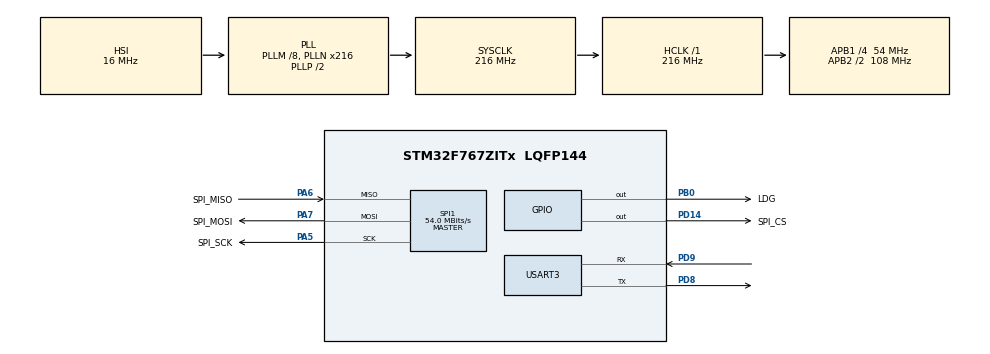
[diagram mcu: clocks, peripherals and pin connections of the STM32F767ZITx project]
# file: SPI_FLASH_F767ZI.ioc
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Mcu.Family=STM32F7
NVIC.USART3_IRQn=true\:0\:0\:false\:false\:true\:true\:true
PA6.Mode=Full_Duplex_Master
Dma.SPI1_TX.0.MemInc=DMA_MINC_ENABLE
Dma.SPI1_TX.0.PeriphInc=DMA_PINC_DISABLE
RCC.CortexFreq_Value=216000000
Dma.SPI1_RX.1.Mode=DMA_NORMAL
Dma.SPI1_RX.1.FIFOMode=DMA_FIFOMODE_DISABLE
SPI1.VirtualType=VM_MASTER
CRC.InputDataFormat=CRC_INPUTDATA_FORMAT_BYTES
PB0.GPIO_Label=LDG
PA6.GPIO_Label=SPI_MISO
PD9.Mode=Asynchronous
Dma.USART3_RX.3.Mode=DMA_NORMAL
RCC.SYSCLKSource=RCC_SYSCLKSOURCE_PLLCLK
ProjectManager.StackSize=0x400
Dma.USART3_TX.2.Priority=DMA_PRIORITY_LOW
Dma.USART3_RX.3.MemDataAlignment=DMA_MDATAALIGN_BYTE
USART3.VirtualMode-Asynchronous=VM_ASYNC
PD14.GPIO_Speed=GPIO_SPEED_FREQ_HIGH
SPI1.CLKPolarity=SPI_POLARITY_HIGH
Dma.USART3_RX.3.PeriphDataAlignment=DMA_PDATAALIGN_BYTE
Dma.SPI1_RX.1.PeriphInc=DMA_PINC_DISABLE
SPI1.Direction=SPI_DIRECTION_2LINES
RCC.HCLKFreq_Value=216000000
RCC.APB2TimFreq_Value=216000000
SPI1.CalculateBaudRate=54.0 MBits/s
PD8.Signal=USART3_TX
NVIC.DMA2_Stream0_IRQn=true\:0\:0\:false\:false\:true\:false\:true
Dma.USART3_TX.2.Mode=DMA_NORMAL
RCC.AHBFreq_Value=216000000
RCC.HSE_VALUE=25000000
Dma.SPI1_RX.1.Priority=DMA_PRIORITY_LOW
Dma.USART3_RX.3.Instance=DMA1_Stream1
SPI1.DataSize=SPI_DATASIZE_8BIT
Dma.USART3_RX.3.PeriphInc=DMA_PINC_DISABLE
PD14.GPIO_PuPd=GPIO_PULLUP
Dma.SPI1_RX.1.Direction=DMA_PERIPH_TO_MEMORY
Dma.SPI1_TX.0.Mode=DMA_NORMAL
Mcu.Package=LQFP144
PA6.Signal=SPI1_MISO
Dma.USART3_RX.3.MemInc=DMA_MINC_ENABLE
RCC.APB2CLKDivider=RCC_HCLK_DIV2
Dma.Request2=USART3_TX
Dma.Request1=SPI1_RX
RCC.APB1TimFreq_Value=108000000
Dma.Request3=USART3_RX
Dma.Request0=SPI1_TX
SPI1.BaudRatePrescaler=SPI_BAUDRATEPRESCALER_2
Dma.SPI1_RX.1.MemInc=DMA_MINC_ENABLE
PA5.Mode=Full_Duplex_Master
Dma.SPI1_RX.1.Instance=DMA2_Stream0
Dma.USART3_RX.3.Direction=DMA_PERIPH_TO_MEMORY
Dma.USART3_TX.2.PeriphDataAlignment=DMA_PDATAALIGN_BYTE
PA7.Mode=Full_Duplex_Master
Dma.USART3_TX.2.MemInc=DMA_MINC_ENABLE
Dma.SPI1_RX.1.MemDataAlignment=DMA_MDATAALIGN_BYTE
PD9.Signal=USART3_RX
SPI1.CLKPhase=SPI_PHASE_2EDGE
NVIC.DMA1_Stream1_IRQn=true\:0\:0\:false\:false\:true\:false\:true
VP_RNG_VS_RNG.Mode=RNG_Activate
RCC.APB1CLKDivider=RCC_HCLK_DIV4
Dma.USART3_TX.2.PeriphInc=DMA_PINC_DISABLE
Dma.SPI1_TX.0.FIFOMode=DMA_FIFOMODE_DISABLE
CRC.InputDataInversionMode=CRC_INPUTDATA_INVERSION_BYTE
ProjectManager.TargetToolchain=STM32CubeIDE
Dma.SPI1_TX.0.PeriphDataAlignment=DMA_PDATAALIGN_BYTE
Dma.SPI1_TX.0.Direction=DMA_MEMORY_TO_PERIPH
Dma.USART3_RX.3.FIFOMode=DMA_FIFOMODE_DISABLE
Dma.USART3_TX.2.Direction=DMA_MEMORY_TO_PERIPH
RCC.USBFreq_Value=48000000
NVIC.DMA2_Stream3_IRQn=true\:0\:0\:false\:false\:true\:false\:true
RCC.LSE_VALUE=32768
PD8.Mode=Asynchronous
PA5.Signal=SPI1_SCK
PD14.PinState=GPIO_PIN_SET
board=custom
RCC.VCOOutputFreq_Value=432000000
Dma.USART3_TX.2.MemDataAlignment=DMA_MDATAALIGN_BYTE
NVIC.SPI1_IRQn=true\:0\:0\:false\:false\:true\:true\:true
RCC.APB2Freq_Value=108000000
SPI1.CRCCalculation=SPI_CRCCALCULATION_DISABLE
SPI1.Mode=SPI_MODE_MASTER
Dma.SPI1_TX.0.Instance=DMA2_Stream3
PD14.GPIO_Label=SPI_CS
CRC.OutputDataInversionMode=CRC_OUTPUTDATA_INVERSION_ENABLE
Mcu.Name=STM32F767ZITx
PD14.Signal=GPIO_Output
Dma.SPI1_RX.1.PeriphDataAlignment=DMA_PDATAALIGN_BYTE
RCC.SYSCLKFreq_VALUE=216000000
PA7.GPIO_Label=SPI_MOSI
PA5.GPIO_Label=SPI_SCK
Dma.USART3_TX.2.FIFOMode=DMA_FIFOMODE_DISABLE
ProjectManager.HeapSize=0x200
Dma.SPI1_TX.0.Priority=DMA_PRIORITY_LOW
Dma.SPI1_TX.0.MemDataAlignment=DMA_MDATAALIGN_BYTE
RCC.HSI_VALUE=16000000
RCC.PLLQ=9
Dma.USART3_TX.2.Instance=DMA1_Stream3
NVIC.PriorityGroup=NVIC_PRIORITYGROUP_4
RCC.PLLM=8
RCC.PLLN=216
Dma.USART3_RX.3.Priority=DMA_PRIORITY_LOW
NVIC.DMA1_Stream3_IRQn=true\:0\:0\:false\:false\:true\:false\:true
RCC.APB1Freq_Value=54000000
VP_CRC_VS_CRC.Mode=CRC_Activate
PB0.Signal=GPIO_Output
PA7.Signal=SPI1_MOSI

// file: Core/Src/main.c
/* USER CODE BEGIN Header */
/**
 ******************************************************************************
 * @file           : main.c
 * @brief          : Main program body
 ******************************************************************************
 * @attention
 *
 * <h2><center>&copy; Copyright (c) 2021 STMicroelectronics.
 * All rights reserved.</center></h2>
 *
 * This software component is licensed by ST under BSD 3-Clause license,
 * the "License"; You may not use this file except in compliance with the
 * License. You may obtain a copy of the License at:
 *                        opensource.org/licenses/BSD-3-Clause
 *
 ******************************************************************************
 */
/* USER CODE END Header */
#include "main.h"

/* USER CODE BEGIN Includes */
#include <ctype.h>

#include "stdio.h"
#include "uart.h"
#include "flash.h"

#include "lfs_interface.h"
#include "lfs.h"
/* USER CODE END Includes */

/* USER CODE BEGIN PD */
#define USE_IO_PUTCHAR 0
#if USE_IO_PUTCHAR
#ifdef __GNUC__//retarget printf to uart3
#define PUTCHAR_PROTOTYPE int __io_putchar(int ch)
#else
#define PUTCHAR_PROTOTYPE int fputc(int ch, FILE *f)
#endif
#endif
/* USER CODE END PD */

CRC_HandleTypeDef hcrc;

RNG_HandleTypeDef hrng;

SPI_HandleTypeDef hspi1;
DMA_HandleTypeDef hdma_spi1_tx;
DMA_HandleTypeDef hdma_spi1_rx;

UART_HandleTypeDef huart3;
DMA_HandleTypeDef hdma_usart3_tx;
DMA_HandleTypeDef hdma_usart3_rx;

/* USER CODE BEGIN PV */
extern uint8_t uartRecvChar[1];

/* USER CODE END PV */

void SystemClock_Config(void);
static void MX_GPIO_Init(void);
static void MX_DMA_Init(void);
static void MX_SPI1_Init(void);
static void MX_USART3_UART_Init(void);
static void MX_CRC_Init(void);
static void MX_RNG_Init(void);

/* USER CODE BEGIN 0 */

void printArrHex(uint8_t *arr, uint32_t size) {
	for (uint32_t i = 1; i <= size; i++) {
		printf("%02X ", arr[i - 1]);
		if (i % FLASH_ATTR_PAGE_SIZE == 0) {
			printf("\n");
		}
	}
	printf("\n\n");
}

void printArrChar(uint8_t *arr, uint32_t size) {
	for (uint32_t i = 0; i < size; i++) {
		printf("%c", arr[i]);
	}
	printf("\n\n");
}

void testFlash(void) {
	uint32_t id = flashReadId();
	printf("ID = 0x%lX\n", id);

	uint32_t size = FLASH_ATTR_SECTOR_SIZE;
	uint8_t read[size];

	//	flashReadSector(read, 0x00);
	flashReadBytes(read, 0x00, size);

	printArrHex(read, size);

	uint8_t write[size >> 1];

	for (uint32_t i = 0; i < size >> 1; i++) {
		if (i < 256)
			write[i] = HAL_RNG_GetRandomNumber(&hrng) % 256;
		else if (i < 256 << 1) {
			write[i] = 255;
		} else {
			write[i] = 1;
		}
	}

	flashEraseSector(0x00);

	flashReadBytes(read, 0x00, size);
	printArrHex(read, size);

	flashWriteBytes(write, 0x00, size >> 1);
	//	flashWriteSector(write, 0x00, 1);

	flashReadBytes(read, 0x00, size);

	printArrHex(read, size);
}

lfs_t lfs;
lfs_file_t file;
struct lfs_config cfg;
lfs_dir_t dir;

/* USER CODE END 0 */

int main(void)
{

  /* MCU Configuration--------------------------------------------------------*/

  /* Reset of all peripherals, Initializes the Flash interface and the Systick. */
  HAL_Init();

  /* Configure the system clock */
  SystemClock_Config();

  /* Initialize all configured peripherals */
  MX_GPIO_Init();
  MX_DMA_Init();
  MX_SPI1_Init();
  MX_USART3_UART_Init();
  MX_CRC_Init();
  MX_RNG_Init();
  /* USER CODE BEGIN 2 */
	printf("Starting\n");
	HAL_Delay(500);
	HAL_UART_Receive_IT(&huart3, uartRecvChar, 1);

//	testFlash();

//	flashEraseChip();

	lfsConfig(&cfg);

	lfs_file_open(&lfs, &file, "test.txt", LFS_O_CREAT);
	char *data =
			"This is a test file\nNow this is a new line in the text file\nAnd this is a third line in the test file, great!";

	lfs_file_rewind(&lfs, &file);
	lfs_file_write(&lfs, &file, (char*) data, strlen(data));
	lfs_file_close(&lfs, &file);

  /* USER CODE END 2 */

  /* Infinite loop */
	while (1) {

    /* USER CODE BEGIN 3 */
		HAL_GPIO_TogglePin(LDG_GPIO_Port, LDG_Pin);
		HAL_Delay(300);
	}
  /* USER CODE END 3 */
}

void SystemClock_Config(void)
{
  RCC_OscInitTypeDef RCC_OscInitStruct = {0};
  RCC_ClkInitTypeDef RCC_ClkInitStruct = {0};
  RCC_PeriphCLKInitTypeDef PeriphClkInitStruct = {0};

  /** Configure the main internal regulator output voltage
  */
  __HAL_RCC_PWR_CLK_ENABLE();
  __HAL_PWR_VOLTAGESCALING_CONFIG(PWR_REGULATOR_VOLTAGE_SCALE1);
  /** Initializes the RCC Oscillators according to the specified parameters
  * in the RCC_OscInitTypeDef structure.
  */
  RCC_OscInitStruct.OscillatorType = RCC_OSCILLATORTYPE_HSI;
  RCC_OscInitStruct.HSIState = RCC_HSI_ON;
  RCC_OscInitStruct.HSICalibrationValue = RCC_HSICALIBRATION_DEFAULT;
  RCC_OscInitStruct.PLL.PLLState = RCC_PLL_ON;
  RCC_OscInitStruct.PLL.PLLSource = RCC_PLLSOURCE_HSI;
  RCC_OscInitStruct.PLL.PLLM = 8;
  RCC_OscInitStruct.PLL.PLLN = 216;
  RCC_OscInitStruct.PLL.PLLP = RCC_PLLP_DIV2;
  RCC_OscInitStruct.PLL.PLLQ = 9;
  if (HAL_RCC_OscConfig(&RCC_OscInitStruct) != HAL_OK)
  {
    Error_Handler();
  }
  /** Activate the Over-Drive mode
  */
  if (HAL_PWREx_EnableOverDrive() != HAL_OK)
  {
    Error_Handler();
  }
  /** Initializes the CPU, AHB and APB buses clocks
  */
  RCC_ClkInitStruct.ClockType = RCC_CLOCKTYPE_HCLK|RCC_CLOCKTYPE_SYSCLK
                              |RCC_CLOCKTYPE_PCLK1|RCC_CLOCKTYPE_PCLK2;
  RCC_ClkInitStruct.SYSCLKSource = RCC_SYSCLKSOURCE_PLLCLK;
  RCC_ClkInitStruct.AHBCLKDivider = RCC_SYSCLK_DIV1;
  RCC_ClkInitStruct.APB1CLKDivider = RCC_HCLK_DIV4;
  RCC_ClkInitStruct.APB2CLKDivider = RCC_HCLK_DIV2;

  if (HAL_RCC_ClockConfig(&RCC_ClkInitStruct, FLASH_LATENCY_7) != HAL_OK)
  {
    Error_Handler();
  }
  PeriphClkInitStruct.PeriphClockSelection = RCC_PERIPHCLK_USART3|RCC_PERIPHCLK_CLK48;
  PeriphClkInitStruct.Usart3ClockSelection = RCC_USART3CLKSOURCE_PCLK1;
  PeriphClkInitStruct.Clk48ClockSelection = RCC_CLK48SOURCE_PLL;
  if (HAL_RCCEx_PeriphCLKConfig(&PeriphClkInitStruct) != HAL_OK)
  {
    Error_Handler();
  }
}

static void MX_CRC_Init(void)
{

  hcrc.Instance = CRC;
  hcrc.Init.DefaultPolynomialUse = DEFAULT_POLYNOMIAL_ENABLE;
  hcrc.Init.DefaultInitValueUse = DEFAULT_INIT_VALUE_ENABLE;
  hcrc.Init.InputDataInversionMode = CRC_INPUTDATA_INVERSION_BYTE;
  hcrc.Init.OutputDataInversionMode = CRC_OUTPUTDATA_INVERSION_ENABLE;
  hcrc.InputDataFormat = CRC_INPUTDATA_FORMAT_BYTES;
  if (HAL_CRC_Init(&hcrc) != HAL_OK)
  {
    Error_Handler();
  }

}

static void MX_RNG_Init(void)
{

  hrng.Instance = RNG;
  if (HAL_RNG_Init(&hrng) != HAL_OK)
  {
    Error_Handler();
  }

}

static void MX_SPI1_Init(void)
{

  /* SPI1 parameter configuration*/
  hspi1.Instance = SPI1;
  hspi1.Init.Mode = SPI_MODE_MASTER;
  hspi1.Init.Direction = SPI_DIRECTION_2LINES;
  hspi1.Init.DataSize = SPI_DATASIZE_8BIT;
  hspi1.Init.CLKPolarity = SPI_POLARITY_HIGH;
  hspi1.Init.CLKPhase = SPI_PHASE_2EDGE;
  hspi1.Init.NSS = SPI_NSS_SOFT;
  hspi1.Init.BaudRatePrescaler = SPI_BAUDRATEPRESCALER_2;
  hspi1.Init.FirstBit = SPI_FIRSTBIT_MSB;
  hspi1.Init.TIMode = SPI_TIMODE_DISABLE;
  hspi1.Init.CRCCalculation = SPI_CRCCALCULATION_DISABLE;
  hspi1.Init.CRCPolynomial = 7;
  hspi1.Init.CRCLength = SPI_CRC_LENGTH_DATASIZE;
  hspi1.Init.NSSPMode = SPI_NSS_PULSE_DISABLE;
  if (HAL_SPI_Init(&hspi1) != HAL_OK)
  {
    Error_Handler();
  }

}

static void MX_USART3_UART_Init(void)
{

  huart3.Instance = USART3;
  huart3.Init.BaudRate = 115200;
  huart3.Init.WordLength = UART_WORDLENGTH_8B;
  huart3.Init.StopBits = UART_STOPBITS_1;
  huart3.Init.Parity = UART_PARITY_NONE;
  huart3.Init.Mode = UART_MODE_TX_RX;
  huart3.Init.HwFlowCtl = UART_HWCONTROL_NONE;
  huart3.Init.OverSampling = UART_OVERSAMPLING_16;
  huart3.Init.OneBitSampling = UART_ONE_BIT_SAMPLE_DISABLE;
  huart3.AdvancedInit.AdvFeatureInit = UART_ADVFEATURE_NO_INIT;
  if (HAL_UART_Init(&huart3) != HAL_OK)
  {
    Error_Handler();
  }

}

static void MX_DMA_Init(void)
{

  /* DMA controller clock enable */
  __HAL_RCC_DMA2_CLK_ENABLE();
  __HAL_RCC_DMA1_CLK_ENABLE();

  /* DMA interrupt init */
  /* DMA1_Stream1_IRQn interrupt configuration */
  HAL_NVIC_SetPriority(DMA1_Stream1_IRQn, 0, 0);
  HAL_NVIC_EnableIRQ(DMA1_Stream1_IRQn);
  /* DMA1_Stream3_IRQn interrupt configuration */
  HAL_NVIC_SetPriority(DMA1_Stream3_IRQn, 0, 0);
  HAL_NVIC_EnableIRQ(DMA1_Stream3_IRQn);
  /* DMA2_Stream0_IRQn interrupt configuration */
  HAL_NVIC_SetPriority(DMA2_Stream0_IRQn, 0, 0);
  HAL_NVIC_EnableIRQ(DMA2_Stream0_IRQn);
  /* DMA2_Stream3_IRQn interrupt configuration */
  HAL_NVIC_SetPriority(DMA2_Stream3_IRQn, 0, 0);
  HAL_NVIC_EnableIRQ(DMA2_Stream3_IRQn);

}

static void MX_GPIO_Init(void)
{
  GPIO_InitTypeDef GPIO_InitStruct = {0};

  /* GPIO Ports Clock Enable */
  __HAL_RCC_GPIOA_CLK_ENABLE();
  __HAL_RCC_GPIOB_CLK_ENABLE();
  __HAL_RCC_GPIOD_CLK_ENABLE();

  /*Configure GPIO pin Output Level */
  HAL_GPIO_WritePin(LDG_GPIO_Port, LDG_Pin, GPIO_PIN_RESET);

  /*Configure GPIO pin Output Level */
  HAL_GPIO_WritePin(SPI_CS_GPIO_Port, SPI_CS_Pin, GPIO_PIN_SET);

  /*Configure GPIO pin : LDG_Pin */
  GPIO_InitStruct.Pin = LDG_Pin;
  GPIO_InitStruct.Mode = GPIO_MODE_OUTPUT_PP;
  GPIO_InitStruct.Pull = GPIO_NOPULL;
  GPIO_InitStruct.Speed = GPIO_SPEED_FREQ_LOW;
  HAL_GPIO_Init(LDG_GPIO_Port, &GPIO_InitStruct);

  /*Configure GPIO pin : SPI_CS_Pin */
  GPIO_InitStruct.Pin = SPI_CS_Pin;
  GPIO_InitStruct.Mode = GPIO_MODE_OUTPUT_PP;
  GPIO_InitStruct.Pull = GPIO_PULLUP;
  GPIO_InitStruct.Speed = GPIO_SPEED_FREQ_HIGH;
  HAL_GPIO_Init(SPI_CS_GPIO_Port, &GPIO_InitStruct);

}

/* USER CODE BEGIN 4 */
#if USE_IO_PUTCHAR
PUTCHAR_PROTOTYPE {	//retarget printf to uart3
//	HAL_UART_Transmit(&huart3, (uint8_t*) &ch, 1, 1000);
	HAL_UART_Transmit_DMA(&huart3, (uint8_t*) &ch, 1);
//	HAL_UART_Transmit_IT(&huart3, (uint8_t*)&ch, 1);
	return ch;
}
#else
int _write(int file, char *ptr, int len) {
	HAL_UART_Transmit(&huart3, (uint8_t*) ptr, len, 1000);
//	HAL_UART_Transmit_DMA(&huart3, (uint8_t*) ptr, len);
//	HAL_UART_Transmit_IT(&huart3, (uint8_t*)ptr, len);
	return len;
}
#endif
/* USER CODE END 4 */

void Error_Handler(void)
{
	__disable_irq();
	while (1) {
	}
}

/************************ (C) COPYRIGHT STMicroelectronics *****END OF FILE****/
